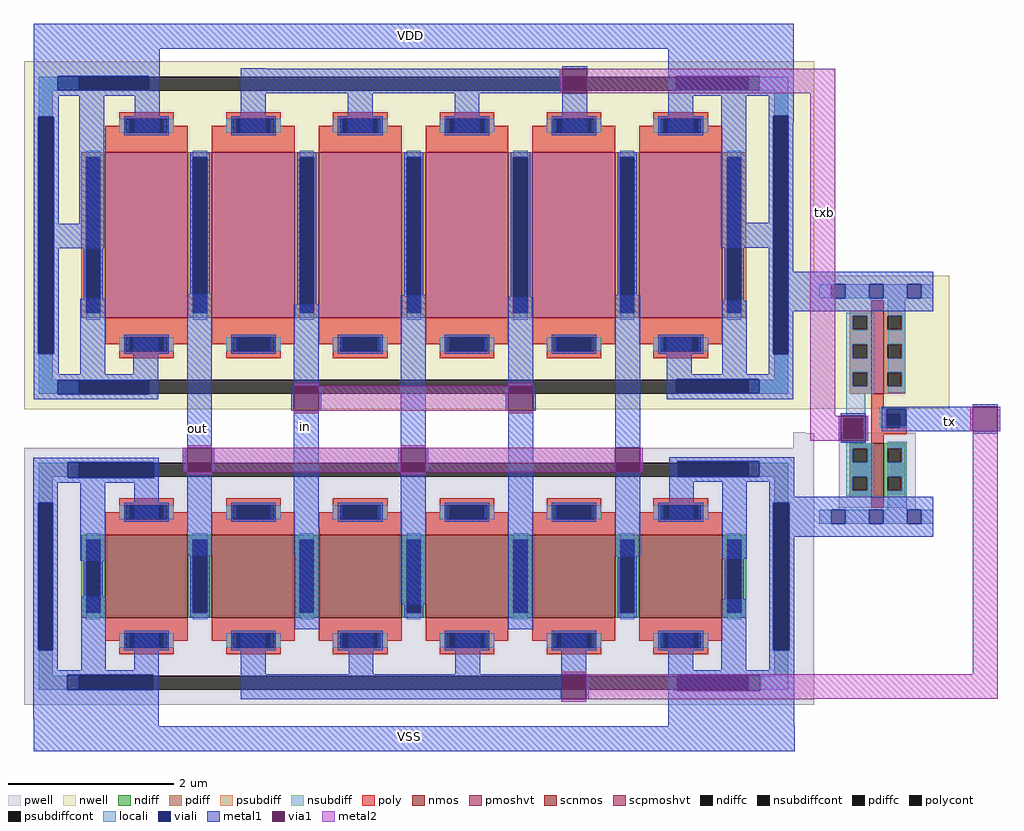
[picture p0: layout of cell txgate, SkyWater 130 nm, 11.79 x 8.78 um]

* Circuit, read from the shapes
.subckt txgate VDD VSS in out tx txb
XM1 out VSS VSS VSS sky130_fd_pr__nfet_01v8 w=1 l=1 m=2
XM2 in tx out VSS sky130_fd_pr__nfet_01v8 w=1 l=1 m=4
XM3 VSS tx txb VSS sky130_fd_pr__nfet_01v8 w=0.65 l=0.15
XM4 out VDD VDD VDD sky130_fd_pr__pfet_01v8_hvt w=2 l=1 m=2
XM5 in txb out VDD sky130_fd_pr__pfet_01v8_hvt w=2 l=1 m=4
XM6 VDD tx txb VDD sky130_fd_pr__pfet_01v8_hvt w=1 l=0.15
.ends

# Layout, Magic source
magic
tech sky130A
magscale 1 2
<< nwell >>
rect 74185 58186 76094 59026
<< pwell >>
rect 76043 58128 76073 58130
rect 76043 57472 76094 58128
<< viali >>
rect 74267 58956 74487 58990
rect 75759 58956 75961 58990
rect 74219 58320 74257 58892
rect 75995 58318 76031 58894
rect 74267 58222 74487 58256
rect 75759 58224 75961 58258
rect 76164 58116 76212 58164
rect 76268 58146 76314 58186
rect 74291 58020 74499 58058
rect 75763 58022 75961 58060
rect 74219 57604 74255 57960
rect 75995 57604 76033 57960
rect 74289 57508 74497 57544
rect 75761 57506 75963 57542
<< metal1 >>
rect 74208 59056 76044 59116
rect 74208 58990 74513 59056
rect 74208 58956 74267 58990
rect 74487 58956 74513 58990
rect 74208 58942 74513 58956
rect 74208 58892 74269 58942
rect 74208 58862 74219 58892
rect 74209 58634 74219 58862
rect 74208 58574 74219 58634
rect 74209 58320 74219 58574
rect 74257 58634 74269 58892
rect 74319 58634 74379 58942
rect 74453 58851 74513 58942
rect 74709 59008 74769 59009
rect 75485 59008 75545 59014
rect 74709 58948 75485 59008
rect 74709 58853 74769 58948
rect 74967 58851 75027 58948
rect 75225 58853 75285 58948
rect 75485 58853 75545 58948
rect 75741 58990 76044 59056
rect 75741 58956 75759 58990
rect 75961 58956 76044 58990
rect 75741 58942 76044 58956
rect 75741 58851 75801 58942
rect 74257 58574 74379 58634
rect 75869 58636 75929 58942
rect 75983 58894 76044 58942
rect 75983 58636 75995 58894
rect 75869 58576 75995 58636
rect 74257 58320 74269 58574
rect 74209 58270 74269 58320
rect 74321 58270 74381 58452
rect 74449 58270 74509 58358
rect 74208 58256 74509 58270
rect 74208 58222 74267 58256
rect 74487 58222 74509 58256
rect 74208 58210 74509 58222
rect 74579 58093 74639 58463
rect 74837 58242 74897 58438
rect 74831 58182 74837 58242
rect 74897 58182 74903 58242
rect 74207 58058 74511 58068
rect 74207 58020 74291 58058
rect 74499 58020 74511 58058
rect 74573 58033 74579 58093
rect 74639 58033 74645 58093
rect 74207 58008 74511 58020
rect 74207 57960 74267 58008
rect 74207 57604 74219 57960
rect 74255 57604 74267 57960
rect 74321 57820 74381 58008
rect 74451 57920 74511 58008
rect 74579 57833 74639 58033
rect 74837 57900 74897 58182
rect 75095 58093 75155 58461
rect 75355 58242 75415 58456
rect 75349 58182 75355 58242
rect 75415 58182 75421 58242
rect 75089 58033 75095 58093
rect 75155 58033 75161 58093
rect 74837 57834 74899 57900
rect 74207 57555 74267 57604
rect 74323 57555 74383 57733
rect 74839 57654 74899 57834
rect 75095 57714 75155 58033
rect 75355 57654 75415 58182
rect 75613 58093 75673 58461
rect 75737 58270 75797 58358
rect 75871 58270 75931 58448
rect 75983 58318 75995 58576
rect 76031 58878 76044 58894
rect 76031 58518 76043 58878
rect 76031 58422 76144 58518
rect 76031 58318 76043 58422
rect 75983 58270 76043 58318
rect 75737 58258 76043 58270
rect 75737 58224 75759 58258
rect 75961 58224 76043 58258
rect 75737 58210 76043 58224
rect 76476 58192 76536 58198
rect 76256 58186 76476 58192
rect 76158 58170 76218 58176
rect 76152 58110 76158 58170
rect 76218 58110 76224 58170
rect 76256 58146 76268 58186
rect 76314 58146 76476 58186
rect 76256 58132 76476 58146
rect 76476 58126 76536 58132
rect 76158 58104 76218 58110
rect 75613 57831 75673 58033
rect 75743 58060 76045 58070
rect 75743 58022 75763 58060
rect 75961 58022 76045 58060
rect 75743 58010 76045 58022
rect 75743 57922 75803 58010
rect 75871 57824 75931 58010
rect 75985 57974 76045 58010
rect 75985 57960 76136 57974
rect 74451 57555 74511 57644
rect 74207 57544 74511 57555
rect 74207 57508 74289 57544
rect 74497 57508 74511 57544
rect 74207 57438 74511 57508
rect 74709 57545 74769 57645
rect 74969 57545 75029 57645
rect 75227 57545 75287 57643
rect 75483 57545 75543 57643
rect 75741 57555 75801 57646
rect 75869 57555 75929 57727
rect 75985 57604 75995 57960
rect 76033 57878 76136 57960
rect 76033 57604 76045 57878
rect 75985 57555 76045 57604
rect 74709 57485 75483 57545
rect 75543 57485 75549 57545
rect 75741 57542 76045 57555
rect 75741 57506 75761 57542
rect 75963 57506 76045 57542
rect 74208 57420 74511 57438
rect 75741 57420 76045 57506
rect 74208 57360 76046 57420
<< via1 >>
rect 75485 58948 75545 59008
rect 74837 58182 74897 58242
rect 74579 58033 74639 58093
rect 75355 58182 75415 58242
rect 75095 58033 75155 58093
rect 76158 58164 76218 58170
rect 76158 58116 76164 58164
rect 76164 58116 76212 58164
rect 76212 58116 76218 58164
rect 76158 58110 76218 58116
rect 76476 58132 76536 58192
rect 75613 58033 75673 58093
rect 75483 57485 75543 57545
<< metal2 >>
rect 75479 58948 75485 59008
rect 75545 58948 76144 59008
rect 74837 58242 74897 58248
rect 75355 58242 75415 58248
rect 74897 58182 75355 58242
rect 74837 58176 74897 58182
rect 75355 58176 75415 58182
rect 76084 58170 76144 58948
rect 76084 58110 76158 58170
rect 76218 58110 76224 58170
rect 76470 58132 76476 58192
rect 76536 58132 76542 58192
rect 74579 58093 74639 58099
rect 75095 58093 75155 58099
rect 74568 58033 74579 58093
rect 74639 58033 75095 58093
rect 75155 58033 75613 58093
rect 75673 58033 75679 58093
rect 74579 58027 74639 58033
rect 75095 58027 75155 58033
rect 75483 57545 75543 57551
rect 76476 57546 76536 58132
rect 75990 57545 76536 57546
rect 75543 57486 76536 57545
rect 75543 57485 76094 57486
rect 75483 57479 75543 57485
use sky130_fd_sc_hd__inv_1  sky130_fd_sc_hd__inv_1_0 ~/PDKS/sky130A/libs.ref/sky130_fd_sc_hd/mag
transform -1 0 76381 0 1 57926
box -38 -48 314 592
use sky130_fd_pr__pfet_01v8_hvt_SCHXZ7  sky130_fd_pr__pfet_01v8_hvt_SCHXZ7_0 ~/ee272b/ee272b_mixed_signal_mmwave_accelerator/layouts/dac_8bit
transform 1 0 75126 0 1 58606
box -941 -419 941 419
use sky130_fd_pr__nfet_01v8_N6QVV6  sky130_fd_pr__nfet_01v8_N6QVV6_0 ~/ee272b/ee272b_mixed_signal_mmwave_accelerator/layouts/dac_8bit
transform 1 0 75126 0 1 57782
box -941 -310 941 310
<< labels >>
flabel metal1 76416 58154 76424 58160 1 FreeSans 480 0 0 0 tx
flabel metal1 74598 58134 74608 58142 1 FreeSans 480 0 0 0 out
flabel metal1 74860 58140 74870 58148 1 FreeSans 480 0 0 0 in
flabel metal1 75114 59082 75124 59092 1 FreeSans 480 0 0 0 VDD
flabel metal1 75112 57392 75120 57398 1 FreeSans 480 0 0 0 VSS
flabel metal2 76114 58656 76124 58664 1 FreeSans 480 0 0 0 txb
<< end >>

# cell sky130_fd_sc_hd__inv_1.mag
magic
tech sky130A
magscale 1 2
<< nwell >>
rect -38 261 314 582
<< pwell >>
rect 42 21 228 203
rect 42 17 63 21
rect 29 -17 63 17
<< scnmos >>
rect 120 47 150 177
<< scpmoshvt >>
rect 120 297 150 497
<< ndiff >>
rect 68 165 120 177
rect 68 131 76 165
rect 110 131 120 165
rect 68 97 120 131
rect 68 63 76 97
rect 110 63 120 97
rect 68 47 120 63
rect 150 165 202 177
rect 150 131 160 165
rect 194 131 202 165
rect 150 97 202 131
rect 150 63 160 97
rect 194 63 202 97
rect 150 47 202 63
<< pdiff >>
rect 68 485 120 497
rect 68 451 76 485
rect 110 451 120 485
rect 68 417 120 451
rect 68 383 76 417
rect 110 383 120 417
rect 68 349 120 383
rect 68 315 76 349
rect 110 315 120 349
rect 68 297 120 315
rect 150 485 202 497
rect 150 451 160 485
rect 194 451 202 485
rect 150 417 202 451
rect 150 383 160 417
rect 194 383 202 417
rect 150 349 202 383
rect 150 315 160 349
rect 194 315 202 349
rect 150 297 202 315
<< ndiffc >>
rect 76 131 110 165
rect 76 63 110 97
rect 160 131 194 165
rect 160 63 194 97
<< pdiffc >>
rect 76 451 110 485
rect 76 383 110 417
rect 76 315 110 349
rect 160 451 194 485
rect 160 383 194 417
rect 160 315 194 349
<< poly >>
rect 120 497 150 523
rect 120 265 150 297
rect 64 249 150 265
rect 64 215 80 249
rect 114 215 150 249
rect 64 199 150 215
rect 120 177 150 199
rect 120 21 150 47
<< polycont >>
rect 80 215 114 249
<< locali >>
rect 0 527 29 561
rect 63 527 121 561
rect 155 527 213 561
rect 247 527 276 561
rect 68 485 110 527
rect 68 451 76 485
rect 68 417 110 451
rect 68 383 76 417
rect 68 349 110 383
rect 68 315 76 349
rect 68 299 110 315
rect 144 485 210 493
rect 144 451 160 485
rect 194 451 210 485
rect 144 417 210 451
rect 144 383 160 417
rect 194 383 210 417
rect 144 349 210 383
rect 144 315 160 349
rect 194 315 210 349
rect 144 297 210 315
rect 64 249 130 263
rect 64 215 80 249
rect 114 215 130 249
rect 64 165 110 181
rect 164 177 210 297
rect 64 131 76 165
rect 64 97 110 131
rect 64 63 76 97
rect 64 17 110 63
rect 144 165 210 177
rect 144 131 160 165
rect 194 131 210 165
rect 144 97 210 131
rect 144 63 160 97
rect 194 63 210 97
rect 144 51 210 63
rect 0 -17 29 17
rect 63 -17 121 17
rect 155 -17 213 17
rect 247 -17 276 17
<< viali >>
rect 29 527 63 561
rect 121 527 155 561
rect 213 527 247 561
rect 29 -17 63 17
rect 121 -17 155 17
rect 213 -17 247 17
<< metal1 >>
rect 0 561 276 592
rect 0 527 29 561
rect 63 527 121 561
rect 155 527 213 561
rect 247 527 276 561
rect 0 496 276 527
rect 0 17 276 48
rect 0 -17 29 17
rect 63 -17 121 17
rect 155 -17 213 17
rect 247 -17 276 17
rect 0 -48 276 -17
<< labels >>
flabel locali s 164 289 198 323 0 FreeSans 340 0 0 0 Y
port 6 nsew signal output
flabel locali s 164 221 198 255 0 FreeSans 340 0 0 0 Y
port 6 nsew signal output
flabel locali s 72 221 106 255 0 FreeSans 340 0 0 0 A
port 1 nsew signal input
flabel nwell s 29 527 63 561 0 FreeSans 200 0 0 0 VPB
port 4 nsew power bidirectional
flabel pwell s 29 -17 63 17 0 FreeSans 200 0 0 0 VNB
port 3 nsew ground bidirectional
flabel metal1 s 29 -17 63 17 0 FreeSans 200 0 0 0 VGND
port 2 nsew ground bidirectional abutment
flabel metal1 s 29 527 63 561 0 FreeSans 200 0 0 0 VPWR
port 5 nsew power bidirectional abutment
rlabel comment s 0 0 0 0 4 inv_1
<< properties >>
string LEFclass CORE
string LEFsite unithd
string FIXED_BBOX 0 0 276 544
string GDS_FILE $PDKPATH/libs.ref/sky130_fd_sc_hd/gds/sky130_fd_sc_hd.gds
string GDS_START 23678
string GDS_END 27172
string LEFsymmetry X Y R90
string path 0.000 0.000 1.380 0.000 
<< end >>

# cell sky130_fd_pr__pfet_01v8_hvt_SCHXZ7: kit device sky130_fd_pr__pfet_01v8_hvt, w 2 l 1 m 1 nf 6 diffcov 100 polycov 60 guard 1 glc 1 grc 1 gtc 1 gbc 1 tbcov 100 rlcov 100 topc 1 botc 1 poverlap 0 doverlap 1 lmin 0.15 wmin 0.42 compatible {sky130_fd_pr__pfet_01v8 sky130_fd_pr__pfet_01v8_lvt sky130_fd_pr__pfet_01v8_hvt sky130_fd_pr__pfet_g5v0d10v5} full_metal 1 viasrc 100 viadrn 100 viagate 50 viagb 0 viagr 0 viagl 0 viagt 0

# cell sky130_fd_pr__nfet_01v8_N6QVV6: kit device sky130_fd_pr__nfet_01v8, w 1 l 1 m 1 nf 6 diffcov 100 polycov 60 guard 1 glc 1 grc 1 gtc 1 gbc 1 tbcov 100 rlcov 100 topc 1 botc 1 poverlap 0 doverlap 1 lmin 0.15 wmin 0.42 compatible {sky130_fd_pr__nfet_01v8 sky130_fd_pr__nfet_01v8_lvt sky130_fd_bs_flash__special_sonosfet_star sky130_fd_pr__nfet_g5v0d10v5 sky130_fd_pr__nfet_05v0_nvt sky130_fd_pr__nfet_03v3_nvt} full_metal 1 viasrc 100 viadrn 100 viagate 50 viagb 0 viagr 0 viagl 0 viagt 0
